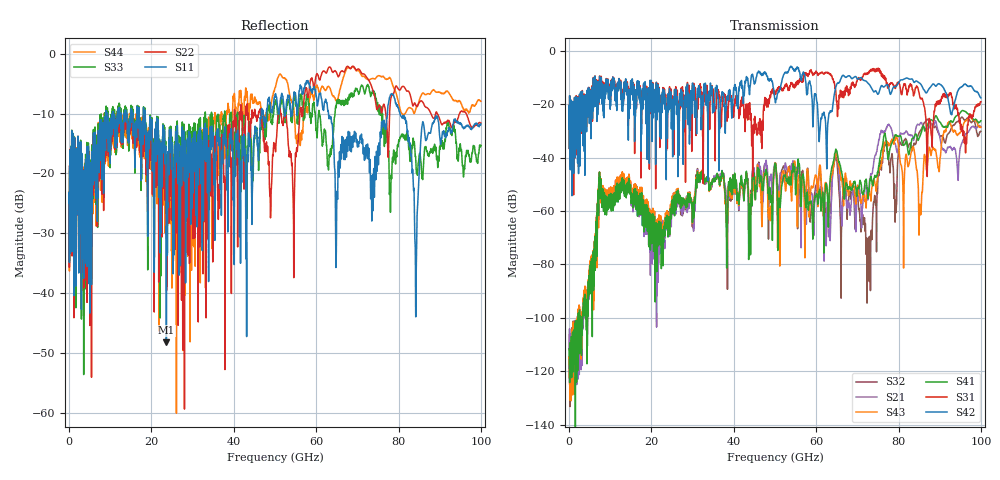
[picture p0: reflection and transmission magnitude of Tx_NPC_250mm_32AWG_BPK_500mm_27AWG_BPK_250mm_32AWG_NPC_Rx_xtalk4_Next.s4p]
! Info: Touchstone file created by Circ.  Input file=Tx_NPC_250mm_32AWG_BPK_500mm_27AWG_BPK_250mm_32AWG_NPC_Rx.circ
# Hz S RI R 50
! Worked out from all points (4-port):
!   10000 points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, 10 MHz to 100 GHz, reference 50 ohm
!   strongest paths, dB at 10 MHz, 25.01 GHz, 50.01 GHz, 75.01 GHz, 100 GHz:
!     S42: -29.4, -18.4, -18.5, -16.2, -17.6
!     S31: -29.3, -17.9, -15.6, -6.8, -19.2
!     S41: -111.7, -56.4, -42.3, -45.6, -26.2
!     S43: -114.8, -54.6, -42.3, -45.2, -28.6
!     S21: -111.5, -57.5, -42.0, -35.4, -28.6
!     S32: -122.4, -55.5, -42.6, -47.4, -30.2
!   lowest |S11| = -48.3 dB at 23.63 GHz (marker M1), VSWR 1.01, Z = 49.7 - j0.275 ohm
!   |S11| at or under -10 dB: 18.48 GHz to 46.67 GHz (28.19 GHz wide, 86.5 % of centre); 62.99 GHz to 77.29 GHz (14.3 GHz wide, 20.4 % of centre); 80.38 GHz to end of sweep (the widest 3 of 36)
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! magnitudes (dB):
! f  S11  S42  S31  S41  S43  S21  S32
! 10 MHz  -25.0  -29.4  -29.3  -111.7  -114.8  -111.5  -122.4
! 23.63 GHz  -48.3  -26.3  -34.8  -66.4  -63.5  -66.9  -64.8
! 64.67 GHz  -24.7  -14.2  -14.1  -37.6  -38.6  -39.1  -40.0
! 72.77 GHz  -15.8  -12.4  -8.2  -52.3  -52.7  -52.1  -70.7
! 76.75 GHz  -12.1  -13.2  -11.0  -31.3  -34.4  -29.9  -35.3
! 85.33 GHz  -15.2  -12.4  -18.0  -31.5  -61.5  -27.0  -29.9
! 100 GHz  -11.7  -17.6  -19.2  -26.2  -28.6  -28.6  -30.2
